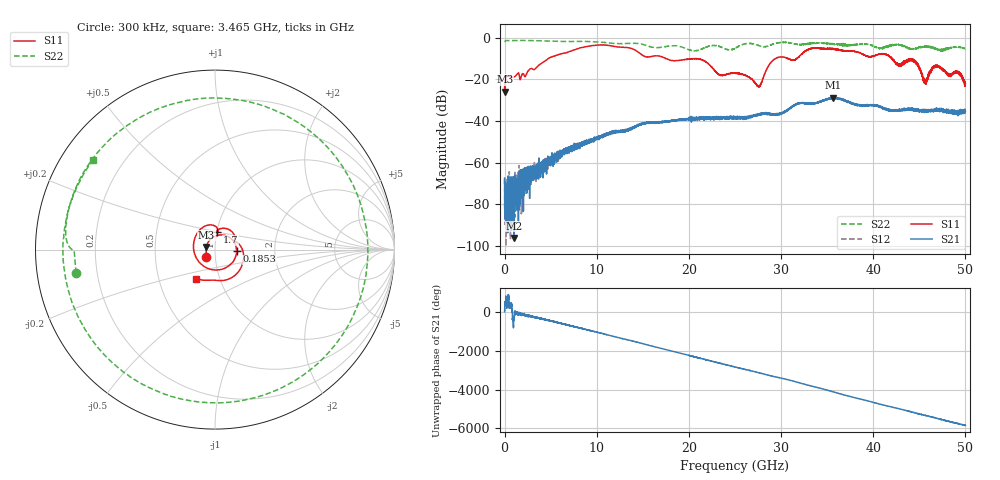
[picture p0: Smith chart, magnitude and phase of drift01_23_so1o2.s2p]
!Created with skrf (http://scikit-rf.org).
# Hz S RI R 50.0
!freq ReS11 ImS11 ReS21 ImS21 ReS12 ImS12 ReS22 ImS22
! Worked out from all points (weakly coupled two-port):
!   10001 points, 300 kHz to 50 GHz, reference 50 ohm
!   highest |S21| = -28.76 dB at 35.63 GHz (marker M1); lowest = -96.0 dB at 1.035 GHz (marker M2)
!   lowest |S11| = -25.8 dB at 5.3 MHz (marker M3), VSWR 1.11, Z = 45.3 + j1.4 ohm
!   |S11| at or under -10 dB: start of sweep to 4.765 GHz; 17.5 GHz to 29.4 GHz (11.9 GHz wide, 50.7 % of centre); 42.04 GHz to end of sweep (the widest 3 of 12)
!   |S22| runs from -6.6 to -1.4 dB; largest |S21 - S12| = 0.0035
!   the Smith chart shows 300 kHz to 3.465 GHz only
!   S11 on the Smith chart (normalised r, x): 300 kHz: 0.90, -0.08; 185.3 MHz: 1.27, -0.02; 1.7 GHz: 1.00, +0.20; 3.465 GHz: 0.77, -0.26
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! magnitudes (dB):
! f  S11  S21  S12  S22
! 300 kHz  -23.8  -67.4  -67.6  -2.1
! 5.3 MHz  -25.8  -78.7  -82.1  -2.1
! 185.3 MHz  -18.3  -80.1  -74.3  -1.4
! 1.035 GHz  -18.8  -96.0  -77.1  -1.5
! 1.7 GHz  -20.1  -69.4  -71.8  -1.4
! 3.465 GHz  -14.3  -67.9  -64.4  -1.5
! 8.335 GHz  -4.8  -51.4  -51.2  -1.8
! 16.67 GHz  -8.7  -40.8  -40.5  -4.8
! 21.17 GHz  -10.3  -38.6  -38.6  -5.9
! 23.36 GHz  -17.8  -38.7  -38.4  -4.3
! 25 GHz  -17.0  -38.5  -37.9  -5.1
! 27.59 GHz  -23.5  -37.0  -36.6  -3.8
! 29.28 GHz  -10.3  -36.9  -37.0  -2.9
! 31.45 GHz  -10.9  -32.4  -32.5  -3.0
! 33.34 GHz  -5.1  -31.5  -31.5  -2.6
! 35.63 GHz  -5.7  -28.8  -29.0  -3.1
! 41.67 GHz  -8.8  -34.6  -34.6  -4.4
! 42.74 GHz  -12.9  -34.9  -34.7  -3.3
! 44.41 GHz  -11.0  -34.7  -34.4  -5.3
! 45.63 GHz  -21.9  -35.5  -35.3  -4.3
! 46.92 GHz  -13.6  -34.4  -34.6  -5.3
! 50 GHz  -22.1  -35.2  -34.9  -5.3
